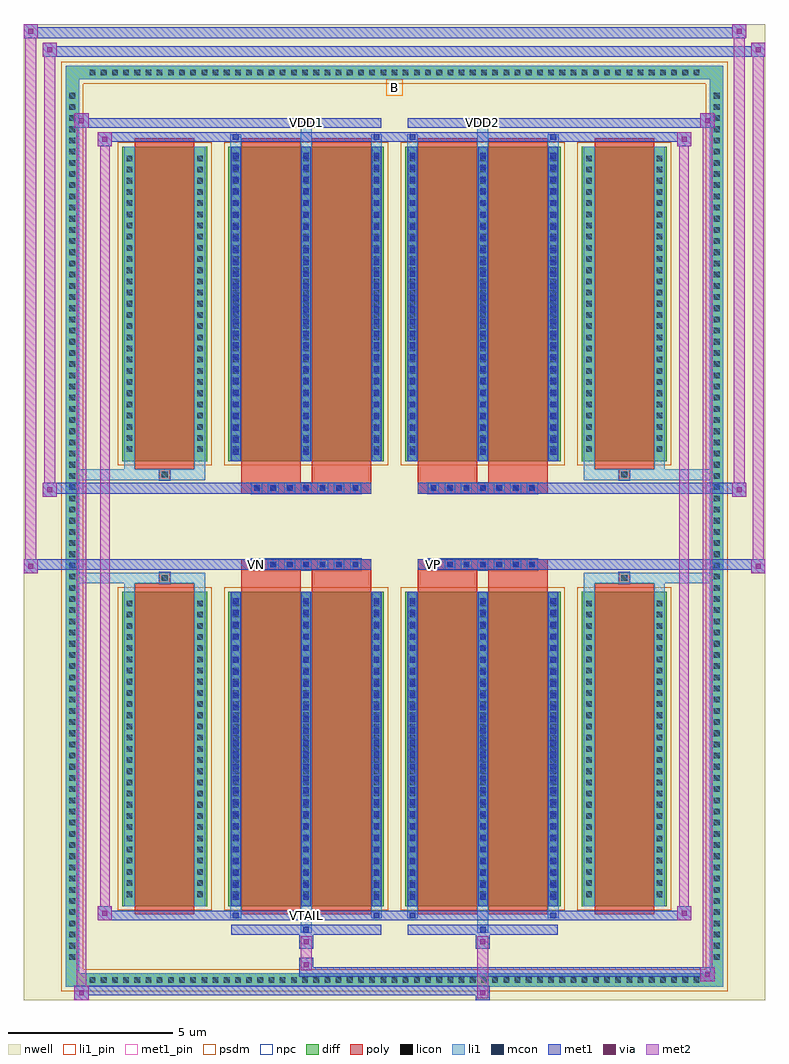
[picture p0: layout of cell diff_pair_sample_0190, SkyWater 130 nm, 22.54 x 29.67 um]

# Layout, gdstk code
import gdstk
lib = gdstk.Library(unit=1e-6, precision=5e-09)
def R(c, l, rs):  # rectangles x0, y0, x1, y1
    for r in rs: c.add(gdstk.rectangle(r[:2], r[2:], *l))
def A(c, l, x, y, w, h, nx, ny, dx, dy):  # array of equal rectangles
    R(c, l, [(x+i*dx, y+j*dy, x+i*dx+w, y+j*dy+h) for i in range(nx) for j in range(ny)])
def P(c, l, *ps):  # polygons
    for p in ps: c.add(gdstk.Polygon(p, *l))
nwell = (64, 20)
diff = (65, 20)
poly = (66, 20)
licon = (66, 44)
li1_pin = (67, 16)
li1 = (67, 20)
mcon = (67, 44)
met1_pin = (68, 16)
met1 = (68, 20)
via = (68, 44)
met2 = (69, 20)
psdm = (94, 20)
npc = (95, 20)

diff_pair_sample_0190 = lib.new_cell('diff_pair_sample_0190')
R(diff_pair_sample_0190, nwell, [(-11.27,-14.4,11.27,15.27), (-8.59,-12.59,-0.01,-0.795), (0.01,-12.59,8.59,-0.795), (-8.59,0.795,-0.01,12.59), (0.01,0.795,8.59,12.59)])
A(diff_pair_sample_0190, diff, -9.385, -14, 0.41, 0.41, 55, 2, 0.34, 27.59)
A(diff_pair_sample_0190, diff, -10, -13.295, 0.41, 0.41, 1, 78, 0, 0.34)
A(diff_pair_sample_0190, diff, 9.59, -13.295, 0.41, 0.41, 1, 78, 0, 0.34)
R(diff_pair_sample_0190, diff, [(-9.385,-14,9.385,-13.59), (-10,-13.295,-9.59,13.295), (9.59,-13.295,10,13.295), (-8.28,-11.545,-5.69,-1.985), (-5.05,-11.545,-0.32,-1.985), (0.32,-11.545,5.05,-1.985), (5.69,-11.545,8.28,-1.985), (-8.28,1.985,-5.69,11.545), (-5.05,1.985,-0.32,11.545), (0.32,1.985,5.05,11.545), (5.69,1.985,8.28,11.545), (-9.385,13.59,9.385,14)])
P(diff_pair_sample_0190, diff, [(10,14),(-10,14),(-10,-13.59),(-9.59,-13.59),(-9.59,13.59),(9.59,13.59),(9.59,-13.59),(-9.59,-13.59),(-10,-13.59),(-10,-14),(10,-14)])
A(diff_pair_sample_0190, poly, -4.35, -1.325, 0.33, 0.33, 7, 2, 0.5, 2.32)
A(diff_pair_sample_0190, poly, 1.02, -1.325, 0.33, 0.33, 7, 2, 0.5, 2.32)
R(diff_pair_sample_0190, poly, [(-7.89,-11.795,-6.08,-1.735), (-4.66,-11.795,-2.85,-1.735), (-2.52,-11.795,-0.71,-1.735), (0.71,-11.795,2.52,-1.735), (2.85,-11.795,4.66,-1.735), (6.08,-11.795,7.89,-1.735), (-7.15,-1.735,-6.82,-1.405), (-7.15,-1.735,-6.82,-1.405), (-4.66,-1.735,-2.85,-1.325), (-2.52,-1.735,-0.71,-1.325), (0.71,-1.735,2.52,-1.325), (2.85,-1.735,4.66,-1.325), (6.82,-1.735,7.15,-1.405), (6.82,-1.735,7.15,-1.405), (-4.66,-1.325,-0.71,-0.995), (0.71,-1.325,4.66,-0.995), (-4.66,0.995,-0.71,1.325), (0.71,0.995,4.66,1.325), (-4.66,1.325,-2.85,1.735), (-2.52,1.325,-0.71,1.735), (0.71,1.325,2.52,1.735), (2.85,1.325,4.66,1.735), (-7.15,1.405,-6.82,1.735), (-7.15,1.405,-6.82,1.735), (6.82,1.405,7.15,1.735), (6.82,1.405,7.15,1.735), (-7.89,1.735,-6.08,11.795), (-4.66,1.735,-2.85,11.795), (-2.52,1.735,-0.71,11.795), (0.71,1.735,2.52,11.795), (2.85,1.735,4.66,11.795), (6.08,1.735,7.89,11.795)])
A(diff_pair_sample_0190, licon, -9.265, -13.88, 0.17, 0.17, 55, 2, 0.34, 27.59)
A(diff_pair_sample_0190, licon, -9.88, -13.175, 0.17, 0.17, 1, 78, 0, 0.34)
A(diff_pair_sample_0190, licon, 9.71, -13.175, 0.17, 0.17, 1, 78, 0, 0.34)
A(diff_pair_sample_0190, licon, -8.14, -11.27, 0.17, 0.17, 1, 27, 0, 0.34)
A(diff_pair_sample_0190, licon, -6, -11.27, 0.17, 0.17, 1, 27, 0, 0.34)
A(diff_pair_sample_0190, licon, -4.91, -11.27, 0.17, 0.17, 3, 27, 2.14, 0.34)
A(diff_pair_sample_0190, licon, 0.46, -11.27, 0.17, 0.17, 3, 27, 2.14, 0.34)
A(diff_pair_sample_0190, licon, 5.83, -11.27, 0.17, 0.17, 1, 27, 0, 0.34)
A(diff_pair_sample_0190, licon, 7.97, -11.27, 0.17, 0.17, 1, 27, 0, 0.34)
A(diff_pair_sample_0190, licon, -4.27, -1.245, 0.17, 0.17, 7, 2, 0.5, 2.32)
A(diff_pair_sample_0190, licon, 1.1, -1.245, 0.17, 0.17, 7, 2, 0.5, 2.32)
A(diff_pair_sample_0190, licon, -8.14, 2.26, 0.17, 0.17, 1, 27, 0, 0.34)
A(diff_pair_sample_0190, licon, -6, 2.26, 0.17, 0.17, 1, 27, 0, 0.34)
A(diff_pair_sample_0190, licon, -4.91, 2.26, 0.17, 0.17, 3, 27, 2.14, 0.34)
A(diff_pair_sample_0190, licon, 0.46, 2.26, 0.17, 0.17, 3, 27, 2.14, 0.34)
A(diff_pair_sample_0190, licon, 5.83, 2.26, 0.17, 0.17, 1, 27, 0, 0.34)
A(diff_pair_sample_0190, licon, 7.97, 2.26, 0.17, 0.17, 1, 27, 0, 0.34)
R(diff_pair_sample_0190, licon, [(-7.07,-1.655,-6.9,-1.485), (6.9,-1.655,7.07,-1.485), (-7.07,1.485,-6.9,1.655), (6.9,1.485,7.07,1.655)])
R(diff_pair_sample_0190, li1_pin, [(-0.25,13.09,0.25,13.59)])
A(diff_pair_sample_0190, li1, -9.345, -13.96, 0.33, 0.33, 55, 2, 0.34, 27.59)
A(diff_pair_sample_0190, li1, -9.96, -13.255, 0.33, 0.33, 1, 78, 0, 0.34)
A(diff_pair_sample_0190, li1, 9.63, -13.255, 0.33, 0.33, 1, 78, 0, 0.34)
A(diff_pair_sample_0190, li1, -4.99, -11.545, 0.33, 9.56, 3, 2, 2.14, 13.53)
A(diff_pair_sample_0190, li1, 0.38, -11.545, 0.33, 9.56, 3, 2, 2.14, 13.53)
A(diff_pair_sample_0190, li1, -8.22, -11.35, 0.33, 0.33, 1, 27, 0, 0.34)
A(diff_pair_sample_0190, li1, -6.08, -11.35, 0.33, 0.33, 1, 27, 0, 0.34)
A(diff_pair_sample_0190, li1, -4.99, -11.35, 0.33, 0.33, 3, 27, 2.14, 0.34)
A(diff_pair_sample_0190, li1, -4.91, -11.35, 0.17, 0.17, 3, 26, 2.14, 0.36)
A(diff_pair_sample_0190, li1, -4.91, -11.35, 0.17, 9.17, 3, 2, 2.14, 13.53)
A(diff_pair_sample_0190, li1, 0.38, -11.35, 0.33, 0.33, 3, 27, 2.14, 0.34)
A(diff_pair_sample_0190, li1, 0.46, -11.35, 0.17, 0.17, 3, 26, 2.14, 0.36)
A(diff_pair_sample_0190, li1, 0.46, -11.35, 0.17, 9.17, 3, 2, 2.14, 13.53)
A(diff_pair_sample_0190, li1, 5.75, -11.35, 0.33, 0.33, 1, 27, 0, 0.34)
A(diff_pair_sample_0190, li1, 7.89, -11.35, 0.33, 0.33, 1, 27, 0, 0.34)
A(diff_pair_sample_0190, li1, -4.35, -1.325, 0.33, 0.33, 7, 2, 0.5, 2.32)
A(diff_pair_sample_0190, li1, 1.02, -1.325, 0.33, 0.33, 7, 2, 0.5, 2.32)
A(diff_pair_sample_0190, li1, -8.22, 2.18, 0.33, 0.33, 1, 27, 0, 0.34)
A(diff_pair_sample_0190, li1, -6.08, 2.18, 0.33, 0.33, 1, 27, 0, 0.34)
A(diff_pair_sample_0190, li1, -4.99, 2.18, 0.33, 0.33, 3, 27, 2.14, 0.34)
A(diff_pair_sample_0190, li1, -4.91, 2.18, 0.17, 0.17, 3, 26, 2.14, 0.36)
A(diff_pair_sample_0190, li1, 0.38, 2.18, 0.33, 0.33, 3, 27, 2.14, 0.34)
A(diff_pair_sample_0190, li1, 0.46, 2.18, 0.17, 0.17, 3, 26, 2.14, 0.36)
A(diff_pair_sample_0190, li1, 5.75, 2.18, 0.33, 0.33, 1, 27, 0, 0.34)
A(diff_pair_sample_0190, li1, 7.89, 2.18, 0.33, 0.33, 1, 27, 0, 0.34)
R(diff_pair_sample_0190, li1, [(-10,-14,-9.59,-13.59), (-10,-14,-9.59,-13.59), (-9.59,-14,9.59,-13.59), (9.59,-14,10,-13.59), (9.59,-14,10,-13.59), (-10,-13.59,-9.59,13.59), (9.59,-13.59,10,13.59), (-2.85,-12.35,-2.52,-11.545), (-2.77,-12.35,-2.6,-12.18), (2.52,-12.35,2.85,-11.545), (2.6,-12.35,2.77,-12.18), (-4.99,-11.92,-4.66,-11.545), (-4.91,-11.92,-4.74,-11.75), (-0.71,-11.92,-0.38,-11.545), (-0.63,-11.92,-0.46,-11.75), (0.38,-11.92,0.71,-11.545), (0.46,-11.92,0.63,-11.75), (4.66,-11.92,4.99,-11.545), (4.74,-11.92,4.91,-11.75), (-8.22,-11.545,-7.89,-1.985), (-6.08,-11.545,-5.75,-1.985), (5.75,-11.545,6.08,-1.985), (7.89,-11.545,8.22,-1.985), (-8.22,-1.985,-7.89,-1.405), (-6.08,-1.985,-5.75,-1.405), (5.75,-1.985,6.08,-1.405), (7.89,-1.985,8.22,-1.405), (-10,-1.735,-7.15,-1.405), (-8.22,-1.735,-7.15,-1.405), (-7.15,-1.735,-6.82,-1.405), (-6.82,-1.735,-5.75,-1.405), (5.75,-1.735,6.82,-1.405), (6.82,-1.735,7.15,-1.405), (6.82,-1.735,10,-1.405), (7.15,-1.735,8.22,-1.405), (-10,1.405,-7.15,1.735), (-8.22,1.405,-7.15,1.735), (-8.22,1.405,-7.89,1.985), (-7.15,1.405,-6.82,1.735), (-6.82,1.405,-5.75,1.735), (-6.08,1.405,-5.75,1.985), (5.75,1.405,6.82,1.735), (5.75,1.405,6.08,1.985), (6.82,1.405,7.15,1.735), (6.82,1.405,10,1.735), (7.15,1.405,8.22,1.735), (7.89,1.405,8.22,1.985), (-8.22,1.985,-7.89,11.545), (-6.08,1.985,-5.75,11.545), (5.75,1.985,6.08,11.545), (7.89,1.985,8.22,11.545), (-4.99,11.545,-4.66,11.92), (-2.85,11.545,-2.52,12.35), (-0.71,11.545,-0.38,11.92), (0.38,11.545,0.71,11.92), (2.52,11.545,2.85,12.35), (4.66,11.545,4.99,11.92), (-4.91,11.75,-4.74,11.92), (-0.63,11.75,-0.46,11.92), (0.46,11.75,0.63,11.92), (4.74,11.75,4.91,11.92), (-2.77,12.18,-2.6,12.35), (2.6,12.18,2.77,12.35), (-10,13.59,-9.59,14), (-10,13.59,-9.59,14), (-9.59,13.59,9.59,14), (9.59,13.59,10,14), (9.59,13.59,10,14)])
A(diff_pair_sample_0190, mcon, -4.91, -11.35, 0.17, 0.17, 3, 26, 2.14, 0.36)
A(diff_pair_sample_0190, mcon, 0.46, -11.35, 0.17, 0.17, 3, 26, 2.14, 0.36)
A(diff_pair_sample_0190, mcon, -4.27, -1.245, 0.17, 0.17, 7, 2, 0.5, 2.32)
A(diff_pair_sample_0190, mcon, 1.1, -1.245, 0.17, 0.17, 7, 2, 0.5, 2.32)
A(diff_pair_sample_0190, mcon, -4.91, 2.18, 0.17, 0.17, 3, 26, 2.14, 0.36)
A(diff_pair_sample_0190, mcon, 0.46, 2.18, 0.17, 0.17, 3, 26, 2.14, 0.36)
R(diff_pair_sample_0190, mcon, [(-2.77,-12.35,-2.6,-12.18), (2.6,-12.35,2.77,-12.18), (-4.91,-11.92,-4.74,-11.75), (-0.63,-11.92,-0.46,-11.75), (0.46,-11.92,0.63,-11.75), (4.74,-11.92,4.91,-11.75), (-4.91,11.75,-4.74,11.92), (-0.63,11.75,-0.46,11.92), (0.46,11.75,0.63,11.92), (4.74,11.75,4.91,11.92), (-2.77,12.18,-2.6,12.35), (2.6,12.18,2.77,12.35)])
R(diff_pair_sample_0190, met1_pin, [(-2.82,-11.96,-2.55,-11.69), (-4.32,-1.285,-4.05,-1.015), (1.05,-1.285,1.32,-1.015), (-2.82,12.14,-2.55,12.41), (2.55,12.14,2.82,12.41)])
A(diff_pair_sample_0190, met1, -4.97, -11.545, 0.29, 9.56, 3, 2, 2.14, 13.53)
A(diff_pair_sample_0190, met1, 0.4, -11.545, 0.29, 9.56, 3, 2, 2.14, 13.53)
A(diff_pair_sample_0190, met1, -4.97, -11.41, 0.29, 0.29, 3, 26, 2.14, 0.36)
A(diff_pair_sample_0190, met1, 0.4, -11.41, 0.29, 0.29, 3, 26, 2.14, 0.36)
A(diff_pair_sample_0190, met1, -4.33, -1.305, 0.29, 0.29, 7, 2, 0.5, 2.32)
A(diff_pair_sample_0190, met1, 1.04, -1.305, 0.29, 0.29, 7, 2, 0.5, 2.32)
A(diff_pair_sample_0190, met1, -4.97, 2.12, 0.29, 0.29, 3, 26, 2.14, 0.36)
A(diff_pair_sample_0190, met1, 0.4, 2.12, 0.29, 0.29, 3, 26, 2.14, 0.36)
R(diff_pair_sample_0190, met1, [(-9.73,-14.4,-9.3,-13.97), (2.47,-14.4,2.9,-13.97), (-9.73,-14.26,2.9,-13.97), (9.3,-13.83,9.73,-13.4), (-2.9,-13.69,9.73,-13.4), (-2.9,-13.55,-2.47,-13.12), (-2.9,-12.84,-2.47,-12.41), (2.47,-12.84,2.9,-12.41), (-4.97,-12.41,-0.4,-12.12), (-2.83,-12.41,-2.54,-12.12), (0.4,-12.41,4.97,-12.12), (2.54,-12.41,2.83,-12.12), (-9.02,-11.98,-8.59,-11.55), (-9.02,-11.98,-4.97,-11.69), (-4.97,-11.98,-4.68,-11.69), (-4.97,-11.98,-0.4,-11.69), (-0.69,-11.98,-0.4,-11.69), (-0.4,-11.98,0.4,-11.69), (0.4,-11.98,0.69,-11.69), (0.4,-11.98,4.97,-11.69), (4.68,-11.98,4.97,-11.69), (4.97,-11.98,9.02,-11.69), (8.59,-11.98,9.02,-11.55), (-11.27,-1.425,-10.84,-0.995), (10.84,-1.425,11.27,-0.995), (-11.27,-1.325,-0.71,-0.995), (-4.66,-1.325,-0.71,-0.995), (0.71,-1.325,4.66,-0.995), (0.71,-1.325,11.27,-0.995), (-10.7,0.895,-10.27,1.325), (10.27,0.895,10.7,1.325), (-10.7,0.995,-4.66,1.325), (-4.66,0.995,-0.71,1.325), (0.71,0.995,4.66,1.325), (4.66,0.995,10.7,1.325), (-9.02,11.55,-8.59,11.98), (8.59,11.55,9.02,11.98), (-9.02,11.69,-4.97,11.98), (-4.97,11.69,-4.68,11.98), (-4.97,11.69,-0.4,11.98), (-0.69,11.69,-0.4,11.98), (-0.4,11.69,0.4,11.98), (0.4,11.69,0.69,11.98), (0.4,11.69,4.97,11.98), (4.68,11.69,4.97,11.98), (4.97,11.69,9.02,11.98), (-9.73,12.12,-9.3,12.55), (-9.73,12.12,-4.97,12.41), (-4.97,12.12,-0.4,12.41), (-2.83,12.12,-2.54,12.41), (0.4,12.12,4.97,12.41), (2.54,12.12,2.83,12.41), (4.97,12.12,9.73,12.41), (9.3,12.12,9.73,12.55), (-10.7,14.27,-10.27,14.7), (-10.7,14.27,-8.59,14.6), (-8.59,14.27,8.59,14.6), (8.59,14.27,11.27,14.6), (10.84,14.27,11.27,14.7), (-11.27,14.84,-10.84,15.27), (-11.27,14.84,-8.59,15.17), (-8.59,14.84,8.59,15.17), (8.59,14.84,10.7,15.17), (10.27,14.84,10.7,15.27)])
R(diff_pair_sample_0190, via, [(-9.59,-14.26,-9.44,-14.11), (2.61,-14.26,2.76,-14.11), (9.44,-13.69,9.59,-13.54), (-2.76,-13.41,-2.61,-13.26), (-2.76,-12.7,-2.61,-12.55), (2.61,-12.7,2.76,-12.55), (-8.88,-11.84,-8.73,-11.69), (8.73,-11.84,8.88,-11.69), (-11.13,-1.285,-10.98,-1.135), (10.98,-1.285,11.13,-1.135), (-10.56,1.035,-10.41,1.185), (10.41,1.035,10.56,1.185), (-8.88,11.69,-8.73,11.84), (8.73,11.69,8.88,11.84), (-9.59,12.26,-9.44,12.41), (9.44,12.26,9.59,12.41), (-10.56,14.41,-10.41,14.56), (10.98,14.41,11.13,14.56), (-11.13,14.98,-10.98,15.13), (10.41,14.98,10.56,15.13)])
R(diff_pair_sample_0190, met2, [(-9.73,-14.4,-9.3,-13.97), (-9.66,-14.4,-9.37,12.55), (-9.37,-14.4,-9.3,-13.97), (-9.68,-14.35,-9.35,-14.02), (2.52,-14.35,2.85,-14.02), (2.52,-14.02,2.85,-12.79), (9.3,-13.83,9.73,-13.4), (9.37,-13.83,9.66,12.55), (9.66,-13.83,9.73,-13.4), (9.35,-13.78,9.68,-13.45), (-2.85,-13.5,-2.52,-13.17), (-2.85,-13.17,-2.52,-12.79), (-2.85,-12.79,-2.52,-12.46), (2.52,-12.79,2.85,-12.46), (-9.02,-11.98,-8.59,-11.55), (-8.95,-11.98,-8.66,11.98), (-8.66,-11.98,-8.59,-11.55), (8.59,-11.98,9.02,-11.55), (8.66,-11.98,8.95,11.98), (8.95,-11.98,9.02,-11.55), (-8.97,-11.93,-8.64,-11.6), (8.64,-11.93,8.97,-11.6), (-11.27,-1.425,-10.84,-0.995), (-11.22,-1.425,-10.89,15.27), (-10.89,-1.425,-10.84,-0.995), (10.84,-1.425,11.27,-0.995), (10.89,-1.425,11.22,14.7), (11.22,-1.425,11.27,-0.995), (-11.22,-1.375,-10.89,-1.045), (10.89,-1.375,11.22,-1.045), (-10.7,0.895,-10.27,1.325), (-10.65,0.895,-10.32,14.7), (-10.32,0.895,-10.27,1.325), (10.27,0.895,10.7,1.325), (10.32,0.895,10.65,15.27), (10.65,0.895,10.7,1.325), (-10.65,0.945,-10.32,1.275), (10.32,0.945,10.65,1.275), (-9.02,11.55,-8.59,11.98), (-8.66,11.55,-8.59,11.98), (8.59,11.55,9.02,11.98), (8.95,11.55,9.02,11.98), (-8.97,11.6,-8.64,11.93), (8.64,11.6,8.97,11.93), (-9.73,12.12,-9.3,12.55), (-9.37,12.12,-9.3,12.55), (9.3,12.12,9.73,12.55), (9.66,12.12,9.73,12.55), (-9.68,12.17,-9.35,12.5), (9.35,12.17,9.68,12.5), (-10.7,14.27,-10.27,14.7), (-10.32,14.27,-10.27,14.7), (10.84,14.27,11.27,14.7), (11.22,14.27,11.27,14.7), (-10.65,14.32,-10.32,14.65), (10.89,14.32,11.22,14.65), (-11.27,14.84,-10.84,15.27), (-10.89,14.84,-10.84,15.27), (10.27,14.84,10.7,15.27), (10.65,14.84,10.7,15.27), (-11.22,14.89,-10.89,15.22), (10.32,14.89,10.65,15.22)])
R(diff_pair_sample_0190, psdm, [(-8.41,-11.675,-5.56,-1.855), (-5.18,-11.675,-0.19,-1.855), (0.19,-11.675,5.18,-1.855), (5.56,-11.675,8.41,-1.855), (-8.41,1.855,-5.56,11.675), (-5.18,1.855,-0.19,11.675), (0.19,1.855,5.18,11.675), (5.56,1.855,8.41,11.675)])
P(diff_pair_sample_0190, psdm, [(10.13,14.13),(-10.13,14.13),(-10.13,-13.46),(-9.46,-13.46),(-9.46,13.46),(9.46,13.46),(9.46,-13.46),(-9.46,-13.46),(-10.13,-13.46),(-10.13,-14.13),(10.13,-14.13)])
A(diff_pair_sample_0190, npc, -4.37, -1.345, 0.37, 0.37, 7, 2, 0.5, 2.32)
A(diff_pair_sample_0190, npc, 1, -1.345, 0.37, 0.37, 7, 2, 0.5, 2.32)
R(diff_pair_sample_0190, npc, [(-7.17,-1.755,-6.8,-1.385), (6.8,-1.755,7.17,-1.385), (-4.37,-1.345,-3.5,-0.975), (-4.37,-1.345,-3.5,-0.975), (-3.87,-1.345,-3,-0.975), (-3.87,-1.345,-3,-0.975), (-3.37,-1.345,-2.5,-0.975), (-3.37,-1.345,-2.5,-0.975), (-2.87,-1.345,-2,-0.975), (-2.87,-1.345,-2,-0.975), (-2.37,-1.345,-1.5,-0.975), (-2.37,-1.345,-1.5,-0.975), (-1.87,-1.345,-1,-0.975), (-1.87,-1.345,-1,-0.975), (1,-1.345,1.87,-0.975), (1,-1.345,1.87,-0.975), (1.5,-1.345,2.37,-0.975), (1.5,-1.345,2.37,-0.975), (2,-1.345,2.87,-0.975), (2,-1.345,2.87,-0.975), (2.5,-1.345,3.37,-0.975), (2.5,-1.345,3.37,-0.975), (3,-1.345,3.87,-0.975), (3,-1.345,3.87,-0.975), (3.5,-1.345,4.37,-0.975), (3.5,-1.345,4.37,-0.975), (-4.37,0.975,-3.5,1.345), (-4.37,0.975,-3.5,1.345), (-3.87,0.975,-3,1.345), (-3.87,0.975,-3,1.345), (-3.37,0.975,-2.5,1.345), (-3.37,0.975,-2.5,1.345), (-2.87,0.975,-2,1.345), (-2.87,0.975,-2,1.345), (-2.37,0.975,-1.5,1.345), (-2.37,0.975,-1.5,1.345), (-1.87,0.975,-1,1.345), (-1.87,0.975,-1,1.345), (1,0.975,1.87,1.345), (1,0.975,1.87,1.345), (1.5,0.975,2.37,1.345), (1.5,0.975,2.37,1.345), (2,0.975,2.87,1.345), (2,0.975,2.87,1.345), (2.5,0.975,3.37,1.345), (2.5,0.975,3.37,1.345), (3,0.975,3.87,1.345), (3,0.975,3.87,1.345), (3.5,0.975,4.37,1.345), (3.5,0.975,4.37,1.345), (-7.17,1.385,-6.8,1.755), (6.8,1.385,7.17,1.755)])
diff_pair_sample_0190.add(gdstk.Label('VTAIL', (-2.685,-11.825), layer=68, texttype=5))
diff_pair_sample_0190.add(gdstk.Label('VN', (-4.185,-1.15), layer=68, texttype=5))
diff_pair_sample_0190.add(gdstk.Label('VP', (1.185,-1.15), layer=68, texttype=5))
diff_pair_sample_0190.add(gdstk.Label('B', (0,13.34), layer=67, texttype=5))
diff_pair_sample_0190.add(gdstk.Label('VDD2', (2.685,12.275), layer=68, texttype=5))
diff_pair_sample_0190.add(gdstk.Label('VDD1', (-2.685,12.275), layer=68, texttype=5))

lib.write_gds('diff_pair_sample_0190.gds')
